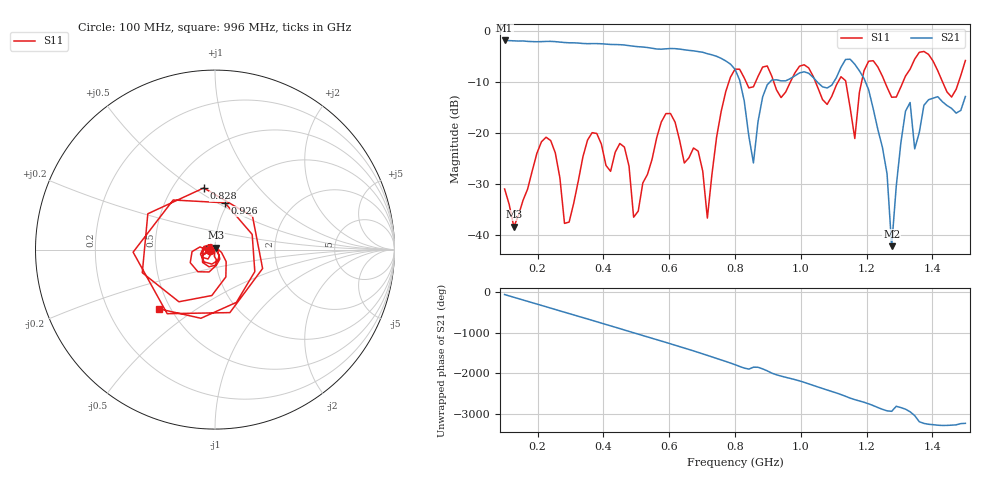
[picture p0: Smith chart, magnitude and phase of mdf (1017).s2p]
! NanoVNA-App
! Date: 2025-09-25 15:46:20
! Start: 100MHz Stop: 1,5GHz Points: 101
! S-Parameter data: F S11 S21 S12 S22
# Hz S RI R 50
!  Frequency  S11_Real  S11_Imag  S21_Real  S21_Imag  S12_Real  S12_Imag  S22_Real  S22_Imag
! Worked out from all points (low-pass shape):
!   101 points, 100 MHz to 1.5 GHz, reference 50 ohm
!   highest |S21| = -1.81 dB at 100 MHz (marker M1); lowest = -42.1 dB at 1.276 GHz (marker M2)
!   |S21| within 3 dB of the highest: start of sweep to 738.8 MHz
!   lowest |S11| = -38.3 dB at 128 MHz (marker M3), VSWR 1.02, Z = 50.4 + j1.14 ohm
!   |S11| at or under -10 dB: start of sweep to 781.1 MHz; 1.045 GHz to 1.113 GHz (67.79 MHz wide, 6.28 % of centre); 1.256 GHz to 1.31 GHz (54.41 MHz wide, 4.24 % of centre) (the widest 3 of 7)
!   S12 and S22 are empty: the file has one direction only
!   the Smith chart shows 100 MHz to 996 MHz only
!   S11 on the Smith chart (normalised r, x): 100 MHz: 0.95, -0.01; 828 MHz: 0.70, +0.55; 926 MHz: 0.97, +0.54; 996 MHz: 0.43, -0.36
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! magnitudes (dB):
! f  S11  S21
! 100 MHz  -30.9  -1.8
! 128 MHz  -38.3  -1.9
! 212 MHz  -21.7  -2.0
! 282 MHz  -37.7  -2.2
! 338 MHz  -24.6  -2.4
! 464 MHz  -22.7  -2.7
! 492 MHz  -36.5  -2.9
! 576 MHz  -17.8  -3.5
! 688 MHz  -23.5  -4.0
! 716 MHz  -36.6  -4.4
! 800 MHz  -7.4  -7.4
! 828 MHz  -9.1  -13.6
! 856 MHz  -10.9  -25.8
! 926 MHz  -11.5  -9.5
! 996 MHz  -6.9  -8.2
! 1.038 GHz  -8.9  -9.1
! 1.164 GHz  -21.0  -6.5
! 1.192 GHz  -7.7  -9.3
! 1.262 GHz  -11.0  -28.0
! 1.276 GHz  -12.9  -42.1
! 1.318 GHz  -8.8  -15.7
! 1.5 GHz  -5.7  -12.8
